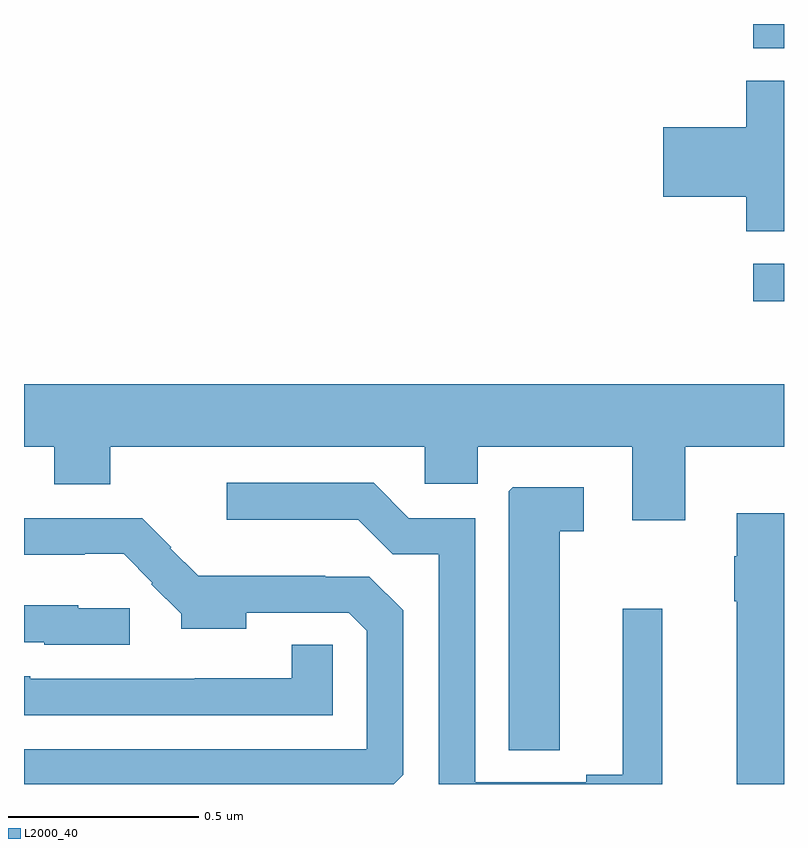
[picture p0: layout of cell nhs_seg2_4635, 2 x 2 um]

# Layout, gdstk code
import gdstk
lib = gdstk.Library(unit=1e-6, precision=1e-09)
def R(c, l, rs):  # rectangles x0, y0, x1, y1
    for r in rs: c.add(gdstk.rectangle(r[:2], r[2:], *l))
def P(c, l, *ps):  # polygons
    for p in ps: c.add(gdstk.Polygon(p, *l))
L2000_40 = (2000, 40)

nhs_seg2_4635 = lib.new_cell('nhs_seg2_4635')
R(nhs_seg2_4635, L2000_40, [(170.919,596.071,171,596.169), (170.919,596.736,171,596.8)])
P(nhs_seg2_4635, L2000_40, [(171,596.651),(170.9,596.651),(170.9,596.528),(170.682,596.528),(170.682,596.345),(170.9,596.345),(170.9,596.254),(171,596.254)],
  [(170.74,595.688),(171,595.688),(171,595.852),(169,595.852),(169,595.688),(169.079,595.688),(169.079,595.589),(169.227,595.589),(169.227,595.688),(170.055,595.688),(170.055,595.59),(170.194,595.59),(170.194,595.688),(170.6,595.688),(170.6,595.494),(170.74,595.494)],
  [(170.68,595.261),(170.576,595.261),(170.576,594.824),(170.48,594.824),(170.48,594.804),(170.187,594.804),(170.187,595.5),(170.013,595.5),(169.92,595.593),(169.533,595.593),(169.533,595.496),(169.879,595.496),(169.97,595.405),(170.091,595.405),(170.091,594.8),(170.68,594.8)],
  [(170.41,595.465),(170.473,595.465),(170.473,595.581),(170.286,595.581),(170.276,595.571),(170.276,594.889),(170.41,594.889)],
  [(171,595.513),(170.876,595.513),(170.876,595.4),(170.869,595.4),(170.869,595.281),(170.876,595.281),(170.876,594.8),(171,594.8)],
  [(169.998,594.825),(169.998,595.257),(169.909,595.346),(169.793,595.346),(169.793,595.348),(169.459,595.348),(169.385,595.421),(169.387,595.423),(169.311,595.5),(169,595.5),(169,595.403),(169.16,595.403),(169.16,595.406),(169.262,595.406),(169.338,595.329),(169.335,595.326),(169.414,595.248),(169.414,595.208),(169.585,595.208),(169.585,595.251),(169.854,595.251),(169.902,595.203),(169.902,594.891),(169,594.891),(169,594.8),(169.973,594.8)],
  [(169.278,595.263),(169.143,595.263),(169.143,595.27),(169,595.27),(169,595.173),(169.053,595.173),(169.053,595.167),(169.278,595.167)],
  [(169.812,595.166),(169.704,595.166),(169.704,595.078),(169.449,595.078),(169.449,595.077),(169.017,595.077),(169.017,595.084),(169,595.084),(169,594.981),(169.812,594.981)])

lib.write_gds('nhs_seg2_4635.gds')
